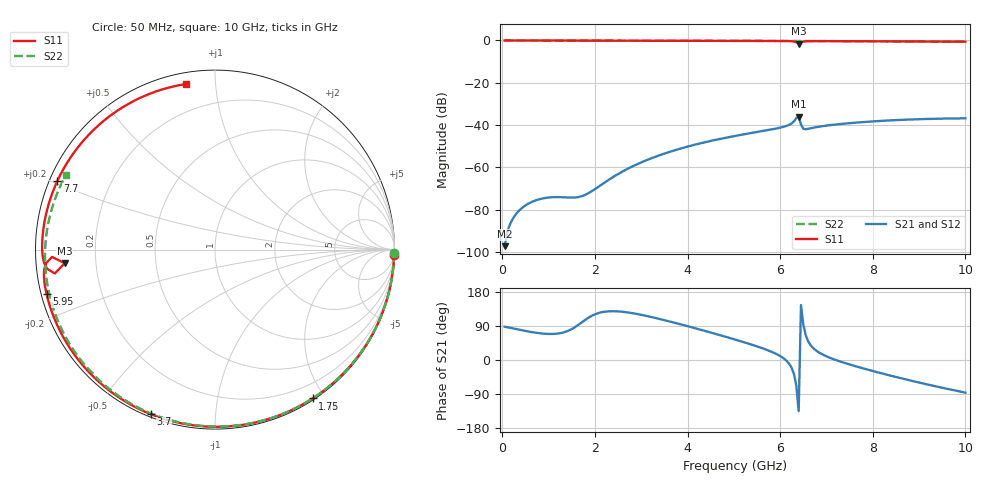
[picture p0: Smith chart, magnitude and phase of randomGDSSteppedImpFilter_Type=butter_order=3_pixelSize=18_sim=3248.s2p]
! freq	dB(S11)	phase(S11)	dB(S12)	phase(S12)
!  dB(S21)	phase(S21)	dB(S22)	phase(S22)
!S-par simulation data
#  GHz  S  DB  R 50
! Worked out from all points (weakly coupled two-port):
!   200 points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, 50 MHz to 10 GHz, reference 50 ohm
!   highest |S21| = -36.09 dB at 6.4 GHz (marker M1); lowest = -97.3 dB at 50 MHz (marker M2)
!   lowest |S11| = -1.5 dB at 6.4 GHz (marker M3), VSWR 11.53, Z = 4.35 - j2.23 ohm
!   |S11| at or under -10 dB: nowhere
!   |S22| runs from -0.6 to 0.0 dB; largest |S21 - S12| = 0
!   S11 on the Smith chart (normalised r, x): 50 MHz: 2, -71; 1.75 GHz: 0.02, -1.85; 3.7 GHz: 0.01, -0.68; 5.95 GHz: 0.02, -0.13; 7.7 GHz: 0.02, +0.21; 10 GHz: 0.06, +0.84
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0.05  -0.01 -1.6  -97.33 87.9  -97.33 87.9  -0.00 -1.1
0.4  -0.02 -13.4  -79.73 79.1  -79.73 79.1  -0.02 -9.3
0.65  -0.03 -21.6  -76.27 73.4  -76.27 73.4  -0.02 -15.1
0.9  -0.04 -29.8  -74.62 69.5  -74.62 69.5  -0.03 -20.8
1.55  -0.06 -50.6  -74.33 85.2  -74.33 85.2  -0.05 -35.5
1.75  -0.07 -56.7  -73.42 102.3  -73.42 102.3  -0.05 -40.0
2.55  -0.10 -80.4  -62.58 127.8  -62.58 127.8  -0.07 -57.5
3.4  -0.13 -103.6  -54.28 108.2  -54.28 108.2  -0.10 -75.4
3.7  -0.14 -111.3  -52.12 99.0  -52.12 99.0  -0.11 -81.6
5.05  -0.20 -144.1  -45.08 53.2  -45.08 53.2  -0.17 -108.3
5.95  -0.26 -165.2  -41.51 13.9  -41.51 13.9  -0.22 -125.5
6.2  -0.33 -171.8  -39.86 -10.9  -39.86 -10.9  -0.23 -130.2
6.3  -0.49 -175.3  -38.24 -37.7  -38.24 -37.7  -0.25 -132.2
6.35  -0.83 -177.4  -36.73 -68.8  -36.73 -68.8  -0.26 -133.2
6.4  -1.51 -174.9  -36.09 -135.0  -36.09 -135.0  -0.29 -134.0
6.45  -0.90 -171.5  -39.70 144.7  -39.70 144.7  -0.28 -134.8
6.5  -0.52 -173.5  -41.76 93.9  -41.76 93.9  -0.27 -135.7
6.7  -0.33 -179.9  -41.35 33.0  -41.35 33.0  -0.27 -139.6
7.7  -0.37 156.5  -38.77 -19.0  -38.77 -19.0  -0.36 -158.6
8.35  -0.43 141.2  -37.85 -40.2  -37.85 -40.2  -0.43 -171.4
9.2  -0.50 120.4  -37.13 -65.2  -37.13 -65.2  -0.53 171.2
10  -0.57 99.8  -36.85 -86.1  -36.85 -86.1  -0.64 153.5
